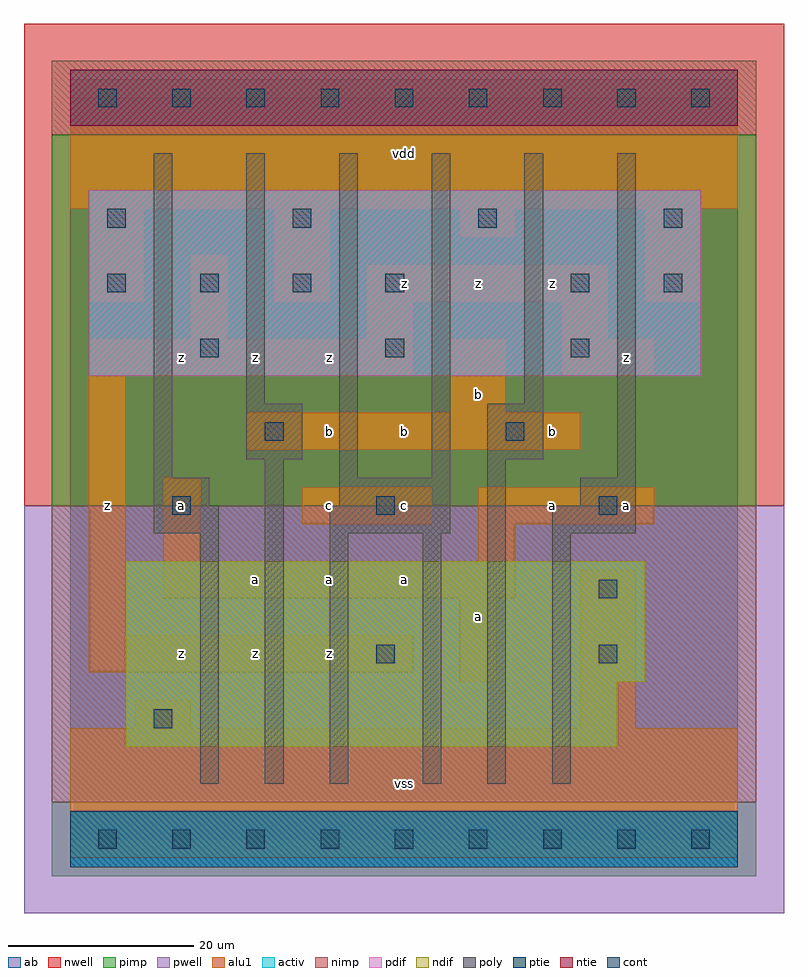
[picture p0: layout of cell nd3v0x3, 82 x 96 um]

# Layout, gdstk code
import gdstk
lib = gdstk.Library(unit=1e-6, precision=1e-09)
def R(c, l, rs):  # rectangles x0, y0, x1, y1
    for r in rs: c.add(gdstk.rectangle(r[:2], r[2:], *l))
def A(c, l, x, y, w, h, nx, ny, dx, dy):  # array of equal rectangles
    R(c, l, [(x+i*dx, y+j*dy, x+i*dx+w, y+j*dy+h) for i in range(nx) for j in range(ny)])
ndif = (3, 0)
pdif = (4, 0)
ntie = (5, 0)
ptie = (6, 0)
cont = (25, 0)
pwell = (41, 0)
nwell = (42, 0)
activ = (43, 0)
pimp = (44, 0)
nimp = (45, 0)
poly = (46, 0)
alu1 = (49, 0)
ab = (63, 0)

nd3v0x3 = lib.new_cell('nd3v0x3')
R(nd3v0x3, ndif, [(6,10,59,17), (6,17,62,30)])
R(nd3v0x3, pdif, [(2,50,68,70)])
R(nd3v0x3, ntie, [(0,77,72,83)])
R(nd3v0x3, ptie, [(0,-3,72,3)])
A(nd3v0x3, cont, 3, -1, 2, 2, 9, 2, 8, 80)
A(nd3v0x3, cont, 14, 52, 2, 2, 3, 1, 20, 0)
A(nd3v0x3, cont, 4, 59, 2, 2, 4, 1, 10, 0)
A(nd3v0x3, cont, 4, 66, 2, 2, 4, 1, 20, 0)
R(nd3v0x3, cont, [(9,12,11,14), (33,19,35,21), (57,19,59,21), (57,26,59,28), (11,35,13,37), (33,35,35,37), (57,35,59,37), (21,43,23,45), (47,43,49,45), (54,59,56,61), (64,59,66,61)])
R(nd3v0x3, pwell, [(-5,-8,77,36)])
R(nd3v0x3, nwell, [(-5,36,77,88)])
R(nd3v0x3, activ, [(0,-3,72,3), (6,10,59,17), (6,17,62,30), (2,50,68,70), (0,77,72,83)])
R(nd3v0x3, pimp, [(-2,-4,74,4), (-2,36,74,76)])
R(nd3v0x3, nimp, [(-2,4,74,36), (-2,76,74,84)])
R(nd3v0x3, poly, [(14,6,16,33), (21,6,23,41), (28,6,30,33), (38,6,40,33), (45,6,47,41), (52,6,54,33), (9,33,16,36), (28,33,41,36), (52,33,61,36), (9,36,15,39), (29,36,41,39), (55,36,61,39), (9,39,11,74), (29,39,31,74), (39,39,41,74), (59,39,61,74), (19,41,25,47), (45,41,51,47), (19,47,21,74), (49,47,51,74)])
R(nd3v0x3, alu1, [(0,-2,72,12), (7,12,13,15), (55,12,61,29), (42,17,46,26), (2,18,37,22), (2,22,6,50), (10,26,48,30), (10,30,14,39), (44,30,48,34), (25,34,39,38), (44,34,63,38), (19,42,55,46), (41,46,47,54), (2,50,37,54), (53,50,63,54), (13,54,17,63), (32,54,37,58), (53,54,58,58), (2,58,8,68), (22,58,28,68), (32,58,58,62), (62,58,68,68), (42,65,48,68), (0,68,72,82)])
R(nd3v0x3, ab, [(0,0,72,80)])
nd3v0x3.add(gdstk.Label('z', (4,36), layer=49, texttype=0))
nd3v0x3.add(gdstk.Label('z', (12,20), layer=49, texttype=0))
nd3v0x3.add(gdstk.Label('z', (20,20), layer=49, texttype=0))
nd3v0x3.add(gdstk.Label('a', (20,28), layer=49, texttype=0))
nd3v0x3.add(gdstk.Label('a', (12,36), layer=49, texttype=0))
nd3v0x3.add(gdstk.Label('z', (20,52), layer=49, texttype=0))
nd3v0x3.add(gdstk.Label('z', (12,52), layer=49, texttype=0))
nd3v0x3.add(gdstk.Label('vss', (36,6), layer=49, texttype=0))
nd3v0x3.add(gdstk.Label('z', (28,20), layer=49, texttype=0))
nd3v0x3.add(gdstk.Label('a', (28,28), layer=49, texttype=0))
nd3v0x3.add(gdstk.Label('a', (36,28), layer=49, texttype=0))
nd3v0x3.add(gdstk.Label('c', (28,36), layer=49, texttype=0))
nd3v0x3.add(gdstk.Label('b', (28,44), layer=49, texttype=0))
nd3v0x3.add(gdstk.Label('c', (36,36), layer=49, texttype=0))
nd3v0x3.add(gdstk.Label('b', (36,44), layer=49, texttype=0))
nd3v0x3.add(gdstk.Label('z', (28,52), layer=49, texttype=0))
nd3v0x3.add(gdstk.Label('z', (36,60), layer=49, texttype=0))
nd3v0x3.add(gdstk.Label('vdd', (36,74), layer=49, texttype=0))
nd3v0x3.add(gdstk.Label('a', (44,24), layer=49, texttype=0))
nd3v0x3.add(gdstk.Label('a', (52,36), layer=49, texttype=0))
nd3v0x3.add(gdstk.Label('b', (52,44), layer=49, texttype=0))
nd3v0x3.add(gdstk.Label('b', (44,48), layer=49, texttype=0))
nd3v0x3.add(gdstk.Label('z', (44,60), layer=49, texttype=0))
nd3v0x3.add(gdstk.Label('z', (52,60), layer=49, texttype=0))
nd3v0x3.add(gdstk.Label('a', (60,36), layer=49, texttype=0))
nd3v0x3.add(gdstk.Label('z', (60,52), layer=49, texttype=0))

lib.write_gds('nd3v0x3.gds')
